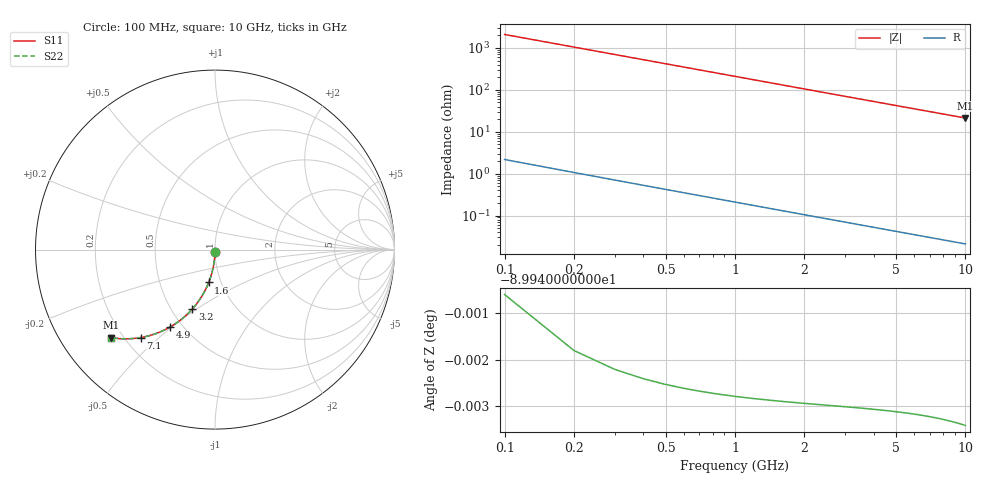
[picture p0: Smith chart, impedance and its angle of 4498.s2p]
# Hz S RI R 50.00
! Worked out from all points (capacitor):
!   100 points, 100 MHz to 10 GHz, reference 50 ohm
!   read as one part in shunt: C = 758 fF near 100 MHz
!   lowest |Z| = 21.3 ohm at 10 GHz (marker M1)
!   S11 on the Smith chart (normalised r, x): 100 MHz: 1.00, -0.02; 1.6 GHz: 0.87, -0.33; 3.2 GHz: 0.63, -0.48; 4.9 GHz: 0.43, -0.49; 7.1 GHz: 0.26, -0.44; 10 GHz: 0.15, -0.36
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1e8  -0.000146 -0.0119  0.9998 -0.0119  0.9998 -0.0119  -0.000146 -0.0119
2e8  -0.000583 -0.0238  0.9994 -0.0239  0.9994 -0.0239  -0.000583 -0.0238
3e8  -0.0013 -0.0356  0.9987 -0.0358  0.9987 -0.0358  -0.0013 -0.0356
4e8  -0.0023 -0.0474  0.9977 -0.0476  0.9977 -0.0476  -0.0023 -0.0474
5e8  -0.00358 -0.0592  0.9964 -0.0595  0.9964 -0.0595  -0.00358 -0.0592
6e8  -0.00514 -0.0709  0.9948 -0.0712  0.9948 -0.0712  -0.00514 -0.0709
7e8  -0.00697 -0.0826  0.993 -0.083  0.993 -0.083  -0.00697 -0.0826
9e8  -0.0114 -0.1057  0.9885 -0.1062  0.9885 -0.1062  -0.0114 -0.1057
1.2e9  -0.0201 -0.1396  0.9799 -0.1403  0.9799 -0.1403  -0.0201 -0.1396
1.6e9  -0.0351 -0.1832  0.9649 -0.1841  0.9649 -0.1841  -0.0351 -0.1832
1.8e9  -0.044 -0.2041  0.956 -0.2051  0.956 -0.2051  -0.044 -0.2041
2.4e9  -0.0754 -0.263  0.9245 -0.2643  0.9245 -0.2643  -0.0754 -0.263
2.8e9  -0.0998 -0.2985  0.9002 -0.3001  0.9002 -0.3001  -0.0998 -0.2985
3.2e9  -0.1264 -0.3309  0.8736 -0.3327  0.8736 -0.3327  -0.1264 -0.3309
3.4e9  -0.1403 -0.3458  0.8597 -0.3477  0.8597 -0.3477  -0.1403 -0.3458
4.1e9  -0.1914 -0.3917  0.8086 -0.3941  0.8086 -0.3941  -0.1914 -0.3917
4.9e9  -0.2522 -0.4324  0.7478 -0.4352  0.7478 -0.4352  -0.2522 -0.4324
5.1e9  -0.2674 -0.4407  0.7326 -0.4436  0.7326 -0.4436  -0.2674 -0.4407
6.7e9  -0.3854 -0.4843  0.6146 -0.4881  0.6146 -0.4881  -0.3854 -0.4843
7.1e9  -0.413 -0.4898  0.587 -0.4939  0.587 -0.4939  -0.413 -0.4898
8.4e9  -0.4954 -0.497  0.5046 -0.5019  0.5046 -0.5019  -0.4954 -0.497
1e10  -0.581 -0.49  0.419 -0.4958  0.419 -0.4958  -0.581 -0.49
